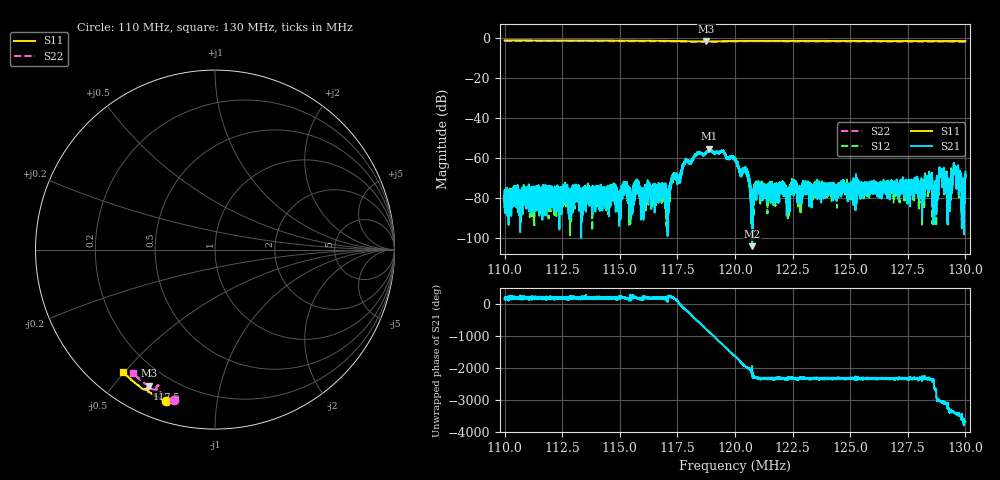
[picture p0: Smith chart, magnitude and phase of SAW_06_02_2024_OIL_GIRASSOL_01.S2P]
!Agilent Technologies,E5071C,MY46520923,B.12.03
!Date: Tue Feb 06 11:05:24 2024
!Data & Calibration Information:
!Freq	S11:SOLT2(ON)	S21:SOLT2(ON)	S12:SOLT2(ON)	S22:SOLT2(ON)
!PortZ  Port1:50+j0  Port2:50+j0
!Above PortZ is port z conversion or system Z0 setting when saving the data.
!When reading, reference impedance value at option line is always used.
# Hz S dB R 50
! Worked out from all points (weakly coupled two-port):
!   10000 points, 110 MHz to 130 MHz, reference 50 ohm
!   highest |S21| = -55.35 dB at 118.9 MHz (marker M1); lowest = -104.2 dB at 120.7 MHz (marker M2)
!   lowest |S11| = -1.5 dB at 118.8 MHz (marker M3), VSWR 11.58, Z = 6 - j31.1 ohm
!   |S11| at or under -10 dB: nowhere
!   |S22| runs from -1.7 to -1.2 dB; largest |S21 - S12| = 0.00025
!   S11 on the Smith chart (normalised r, x): 110 MHz: 0.09, -0.72; 117.5 MHz: 0.10, -0.62; 130 MHz: 0.10, -0.50
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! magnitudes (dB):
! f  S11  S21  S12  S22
! 110 MHz  -1.0  -79.3  -79.5  -1.2
! 113.3 MHz  -1.1  -77.8  -83.9  -1.3
! 116.7 MHz  -1.2  -77.2  -75.0  -1.4
! 117.1 MHz  -1.2  -91.7  -84.5  -1.5
! 117.3 MHz  -1.3  -69.6  -68.8  -1.5
! 117.5 MHz  -1.3  -69.1  -70.6  -1.6
! 117.9 MHz  -1.4  -61.5  -61.0  -1.6
! 118.8 MHz  -1.5  -56.8  -57.3  -1.7
! 118.9 MHz  -1.5  -55.3  -55.9  -1.7
! 120 MHz  -1.3  -60.7  -60.4  -1.5
! 120.5 MHz  -1.2  -66.2  -66.4  -1.4
! 120.7 MHz  -1.2  -104.2  -87.9  -1.4
! 123.3 MHz  -1.2  -75.5  -79.7  -1.5
! 126.7 MHz  -1.3  -76.1  -76.2  -1.6
! 128.1 MHz  -1.3  -81.0  -76.4  -1.6
! 128.3 MHz  -1.3  -70.4  -69.9  -1.6
! 128.7 MHz  -1.4  -77.9  -75.5  -1.6
! 129 MHz  -1.4  -67.1  -68.3  -1.6
! 129.3 MHz  -1.4  -72.6  -73.4  -1.6
! 129.6 MHz  -1.4  -65.3  -65.7  -1.7
! 129.9 MHz  -1.4  -72.9  -74.9  -1.7
! 130 MHz  -1.4  -67.0  -67.6  -1.7
